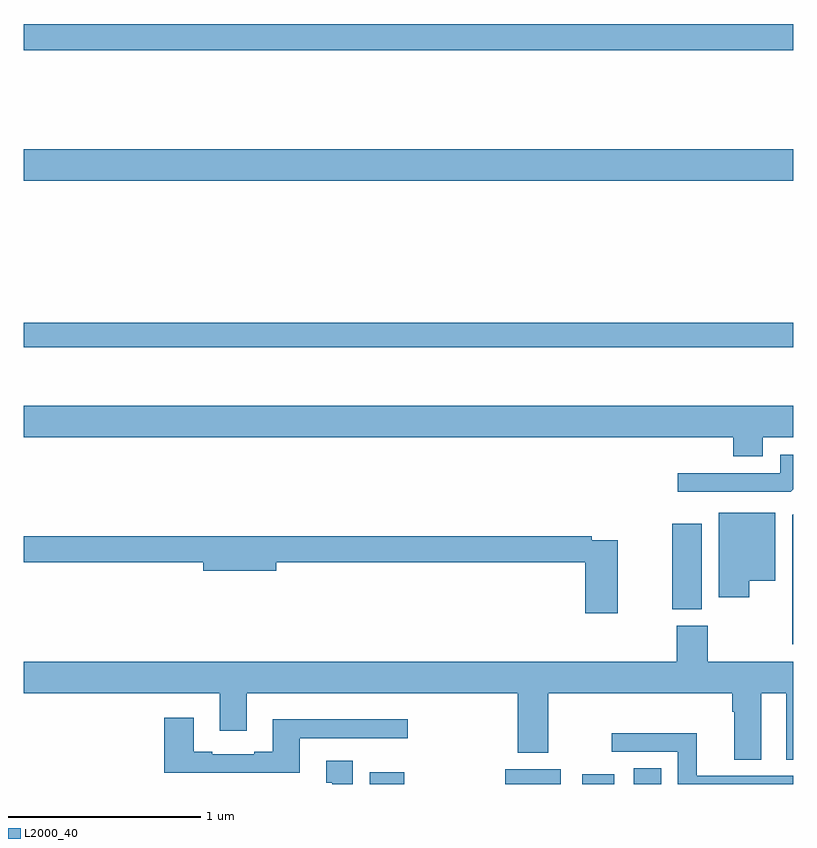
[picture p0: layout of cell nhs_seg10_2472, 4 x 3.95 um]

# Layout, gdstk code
import gdstk
lib = gdstk.Library(unit=1e-6, precision=1e-09)
def R(c, l, rs):  # rectangles x0, y0, x1, y1
    for r in rs: c.add(gdstk.rectangle(r[:2], r[2:], *l))
def P(c, l, *ps):  # polygons
    for p in ps: c.add(gdstk.Polygon(p, *l))
L2000_40 = (2000, 40)

nhs_seg10_2472 = lib.new_cell('nhs_seg10_2472')
R(nhs_seg10_2472, L2000_40, [(244.799,1310.5,244.978,1310.56), (245.504,1310.5,245.791,1310.578), (245.903,1310.5,246.07,1310.551), (246.17,1310.5,246.313,1310.582), (246.371,1311.409,246.526,1311.853), (243,1312.77,247,1312.898), (243,1313.636,247,1313.8), (243,1314.316,247,1314.452)])
P(nhs_seg10_2472, L2000_40, [(246.841,1312.304),(247,1312.304),(247,1312.468),(243,1312.468),(243,1312.304),(246.689,1312.304),(246.689,1312.205),(246.841,1312.205)],
  [(247,1312.033),(247,1312.212),(246.933,1312.212),(246.933,1312.116),(246.399,1312.116),(246.399,1312.02),(246.987,1312.02)],
  [(246.772,1311.557),(246.907,1311.557),(246.907,1311.91),(246.614,1311.91),(246.614,1311.471),(246.772,1311.471)],
  [(247,1311.904),(246.995,1311.899),(246.995,1311.227),(247,1311.227)],
  [(246.088,1311.768),(245.954,1311.768),(245.954,1311.788),(243,1311.788),(243,1311.652),(243.932,1311.652),(243.932,1311.61),(244.312,1311.61),(244.312,1311.652),(245.918,1311.652),(245.918,1311.387),(246.088,1311.387)],
  [(246.835,1310.972),(246.965,1310.972),(246.965,1310.627),(247,1310.627),(247,1311.136),(246.555,1311.136),(246.555,1311.324),(246.395,1311.324),(246.395,1311.136),(243,1311.136),(243,1310.972),(244.019,1310.972),(244.019,1310.778),(244.159,1310.778),(244.159,1310.972),(245.567,1310.972),(245.567,1310.663),(245.727,1310.663),(245.727,1310.972),(246.683,1310.972),(246.683,1310.876),(246.695,1310.876),(246.695,1310.627),(246.835,1310.627)],
  [(244.435,1310.739),(244.996,1310.739),(244.996,1310.836),(244.295,1310.836),(244.295,1310.668),(244.199,1310.668),(244.199,1310.655),(243.979,1310.655),(243.979,1310.668),(243.883,1310.668),(243.883,1310.845),(243.731,1310.845),(243.731,1310.558),(244.435,1310.558)],
  [(247,1310.542),(246.5,1310.542),(246.5,1310.765),(246.057,1310.765),(246.057,1310.667),(246.401,1310.667),(246.401,1310.5),(247,1310.5)],
  [(244.711,1310.62),(244.571,1310.62),(244.571,1310.507),(244.604,1310.507),(244.604,1310.5),(244.711,1310.5)])

lib.write_gds('nhs_seg10_2472.gds')
